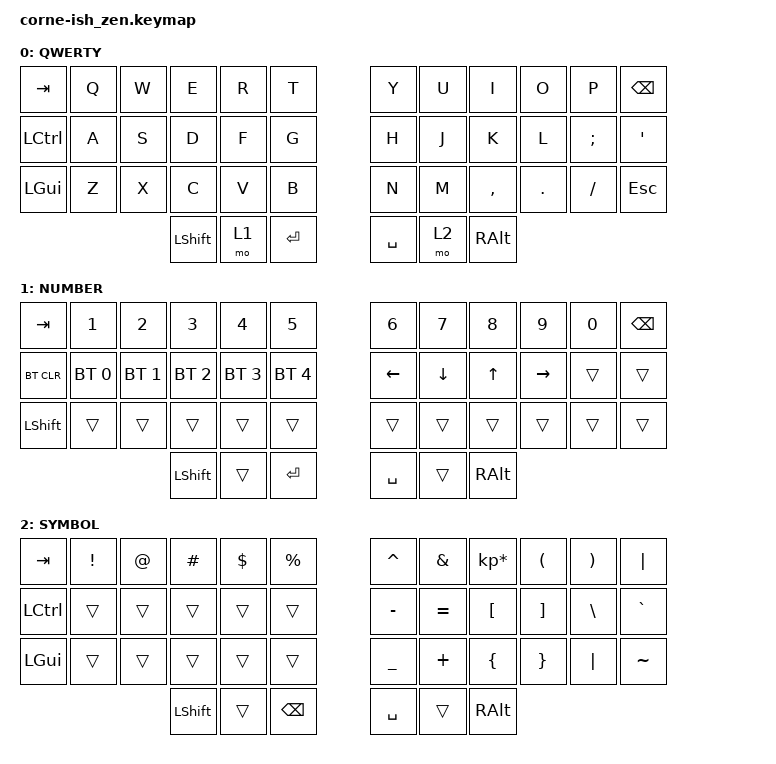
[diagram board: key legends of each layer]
/*
*
* Copyright (c) 2021 Darryl deHaan
* SPDX-License-Identifier: MIT
*
*/

#include <behaviors.dtsi>
#include <dt-bindings/zmk/keys.h>
#include <dt-bindings/zmk/bt.h>

/ {
        keymap {
                compatible = "zmk,keymap";

                default_layer {
                        label = "QWERTY";
// -----------------------------------------------------------------------------------------
// |  TAB |  Q  |  W  |  E  |  R  |  T  |   |  Y  |  U   |  I  |  O  |  P  | BKSP |
// | CTRL |  A  |  S  |  D  |  F  |  G  |   |  H  |  J   |  K  |  L  |  ;  |  '   |
// | GUI |  Z  |  X  |  C  |  V  |  B  |   |  N  |  M   |  ,  |  .  |  /  | ESC  |
//                    | SHFT | LWR | ENT |   | SPC | RSE  | ALT |
                        bindings = <
   &kp TAB   &kp Q &kp W &kp E &kp R &kp T   &kp Y &kp U  &kp I     &kp O   &kp P    &kp BSPC
   &kp LCTRL &kp A &kp S &kp D &kp F &kp G   &kp H &kp J  &kp K     &kp L   &kp SEMI &kp SQT
   &kp LGUI &kp Z &kp X &kp C &kp V &kp B   &kp N &kp M  &kp COMMA &kp DOT &kp FSLH &kp ESC
                  &kp LSHFT &mo 1 &kp RET   &kp SPACE &mo 2 &kp RALT
                        >;
                };
                lower_layer {
                        label = "NUMBER";
// -----------------------------------------------------------------------------------------
// |  TAB |  1  |  2  |  3  |  4  |  5  |   |  6  |  7  |  8  |  9  |  0  | BKSP |
// | BTCLR| BT1 | BT2 | BT3 | BT4 | BT5 |   | LFT | DWN |  UP | RGT |     |      |
// | GUI |     |     |     |     |     |   |     |     |     |     |     |      |
//                    | SHFT |     | ENT |   | SPC |     | ALT |
                        bindings = <
   &kp TAB    &kp N1       &kp N2       &kp N3       &kp N4       &kp N5         &kp N6   &kp N7   &kp N8 &kp N9    &kp N0 &kp BSPC
   &bt BT_CLR &bt BT_SEL 0 &bt BT_SEL 1 &bt BT_SEL 2 &bt BT_SEL 3 &bt BT_SEL 4   &kp LEFT &kp DOWN &kp UP &kp RIGHT &trans &trans
   &kp LSHFT  &trans       &trans       &trans       &trans       &trans         &trans   &trans   &trans &trans    &trans &trans
                          	        &kp LSHFT     &trans       &kp RET      &kp SPACE  &trans   &kp RALT
                        >;
                };

                raise_layer {
                        label = "SYMBOL";
// -----------------------------------------------------------------------------------------
// |  TAB |  !  |  @  |  #  |  $  |  %  |   |  ^  |  &  |  *  |  (  |  )  | "|" |
// | CTRL |     |     |     |     |     |   |  -  |  =  |  [  |  ]  |  \  |  `   |
// | GUI |     |     |     |     |     |   |  _  |  +  |  {  |  }  | BKSP |  ~   |
//                    | SHFT |     | BKSP |   | SPC |     | ALT |
                        bindings = <
   &kp  TAB  &kp EXCL &kp AT &kp HASH &kp DLLR &kp PRCNT   &kp CARET &kp AMPS  &kp KP_MULTIPLY &kp LPAR &kp RPAR &kp PIPE
   &kp LCTRL &trans   &trans &trans   &trans   &trans      &kp MINUS &kp EQUAL &kp LBKT        &kp RBKT &kp BSLH &kp GRAVE
   &kp LGUI &trans   &trans &trans   &trans   &trans      &kp UNDER &kp PLUS  &kp LBRC        &kp RBRC &kp PIPE &kp TILDE
                    	     &kp LSHFT &trans   &kp BSPC   &kp SPACE   &trans    &kp RALT
                        >;
                };
        };
};
